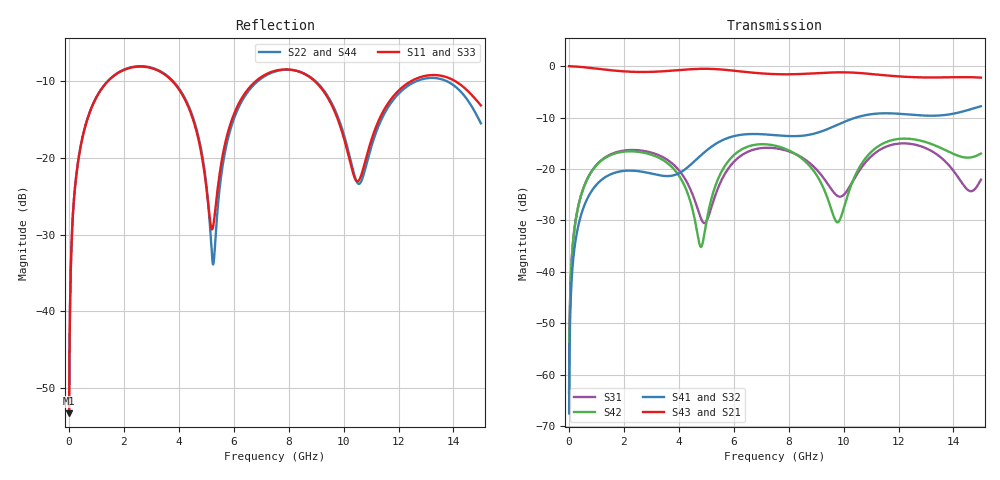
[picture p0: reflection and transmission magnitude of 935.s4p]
! Created with skrf 1.8.0 (http://scikit-rf.org).
# GHz S RI R 50.0
!freq ReS11 ImS11 ReS12 ImS12 ReS13 ImS13
! ReS14 ImS14
! ReS21 ImS21 ReS22 ImS22 ReS23 ImS23
! ReS24 ImS24
! ReS31 ImS31 ReS32 ImS32 ReS33 ImS33
! ReS34 ImS34
! ReS41 ImS41 ReS42 ImS42 ReS43 ImS43
! ReS44 ImS44
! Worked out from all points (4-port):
!   2499 points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, 5 MHz to 15 GHz, reference 50 ohm
!   strongest paths, dB at 5 MHz, 3.476 GHz, 7.19 GHz, 11.1 GHz, 15 GHz:
!     S43: 0.0, -1.0, -1.5, -1.6, -2.2
!     S21: 0.0, -1.0, -1.5, -1.6, -2.2
!     S41: -67.5, -21.4, -13.3, -9.3, -7.8
!     S32: -67.5, -21.4, -13.3, -9.3, -7.8
!     S42: -63.6, -18.4, -15.2, -16.2, -17.0
!     S31: -63.6, -17.9, -15.9, -17.1, -22.1
!   lowest |S11| = -53.3 dB at 5 MHz (marker M1), VSWR 1.00, Z = 50.2 + j0.131 ohm
!   |S11| at or under -10 dB: start of sweep to 1.413 GHz; 3.768 GHz to 6.798 GHz (3.03 GHz wide, 57.3 % of centre); 8.953 GHz to 12.45 GHz (3.5 GHz wide, 32.7 % of centre) (the widest 3 of 4)
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0.005  0.00172 0.00131  0.9983 -0.00334  8.56e-05 0.000654  -8.32e-05 -0.000414
       0.9983 -0.00334  0.00172 0.00131  -8.32e-05 -0.000414  8.54e-05 0.000654
       8.56e-05 0.000654  -8.32e-05 -0.000414  0.00172 0.00131  0.9983 -0.00334
       -8.32e-05 -0.000414  8.54e-05 0.000654  0.9983 -0.00334  0.00172 0.00131
0.3126303  0.0259 0.0857  0.9646 -0.2074  0.0118 0.0386  -0.00967 -0.0242
           0.9646 -0.2074  0.026 0.0857  -0.00967 -0.0242  0.0113 0.0387
           0.0118 0.0386  -0.00967 -0.0242  0.0259 0.0857  0.9646 -0.2074
           -0.00967 -0.0242  0.0113 0.0387  0.9646 -0.2074  0.026 0.0857
1.569404  0.2878 0.1733  0.5096 -0.7522  0.1323 0.0481  -0.09 4.04e-05
          0.5096 -0.7522  0.2902 0.1714  -0.09 -6.17e-06  0.1257 0.0581
          0.1323 0.0481  -0.09 -6.17e-06  0.2879 0.1733  0.5096 -0.7522
          -0.09 4.04e-05  0.1257 0.0581  0.5096 -0.7522  0.2902 0.1715
5.252188  0.0347 0.00919  -0.9362 -0.0462  -0.0173 0.0451  -0.0032 0.1692
          -0.9362 -0.0462  0.0202 -0.000272  -0.0039 0.1692  0.0302 0.0509
          -0.0173 0.0451  -0.0039 0.1692  0.0348 0.00817  -0.9362 -0.0466
          -0.0032 0.1692  0.0302 0.0509  -0.9362 -0.0466  0.0201 -0.00137
8.028345  0.3765 -0.0221  -0.0273 0.8309  0.1228 -0.082  0.2024 -0.0515
          -0.0273 0.8309  0.3758 -0.0154  0.2025 -0.0501  0.1264 -0.082
          0.1228 -0.082  0.2025 -0.0501  0.3739 -0.0217  -0.0273 0.8321
          0.2024 -0.0515  0.1264 -0.082  -0.0273 0.8321  0.3727 -0.0159
10.83576  0.0863 0.0543  0.844 -0.058  0.0274 0.1161  -0.0419 -0.3326
          0.844 -0.058  0.0803 0.0433  -0.0396 -0.3322  0.0574 0.1175
          0.0274 0.1161  -0.0396 -0.3322  0.0909 0.058  0.8437 -0.0596
          -0.0419 -0.3326  0.0574 0.1175  0.8437 -0.0596  0.0761 0.0472
15  0.1982 -0.0959  -0.605 -0.4798  -0.0637 0.0463  -0.2573 0.3157
    -0.605 -0.4798  0.1515 -0.0731  -0.2626 0.3128  -0.1411 0.00742
    -0.0637 0.0463  -0.2626 0.3128  0.1907 -0.0967  -0.6068 -0.4788
    -0.2573 0.3157  -0.1411 0.00742  -0.6068 -0.4788  0.1545 -0.0663
